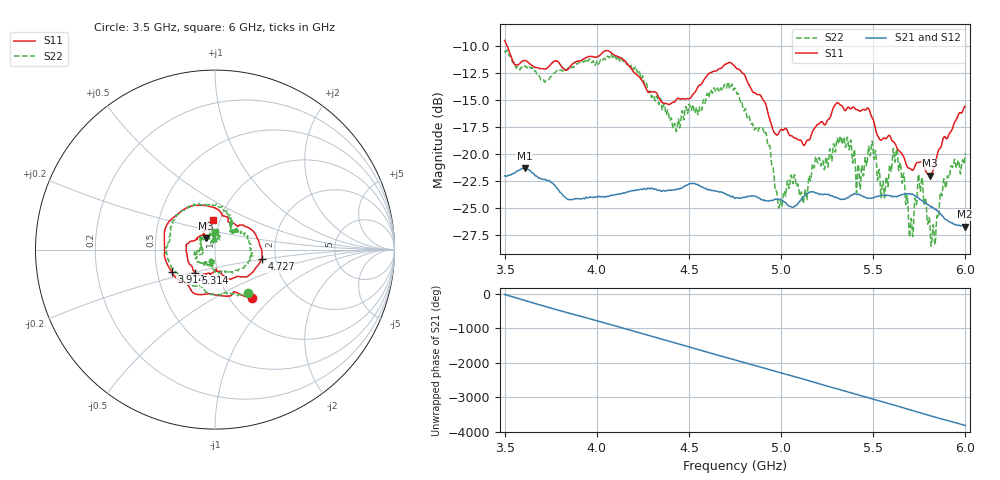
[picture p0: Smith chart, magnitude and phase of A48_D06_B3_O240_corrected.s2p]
! Created with skrf 1.9.0 (http://scikit-rf.org).
# Hz S RI R 50.0
!freq ReS11 ImS11 ReS21 ImS21 ReS12 ImS12 ReS22 ImS22
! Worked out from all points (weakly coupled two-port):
!   1601 points, 3.5 GHz to 6 GHz, reference 50 ohm
!   highest |S21| = -21.33 dB at 3.609 GHz (marker M1); lowest = -26.8 dB at 5.997 GHz (marker M2)
!   lowest |S11| = -22.0 dB at 5.808 GHz (marker M3), VSWR 1.17, Z = 45 + j5.66 ohm
!   |S11| at or under -10 dB: 3.514 GHz to end of sweep
!   |S22| runs from -28.6 to -10.4 dB; largest |S21 - S12| = 0.00097
!   S11 on the Smith chart (normalised r, x): 3.5 GHz: 1.26, -0.76; 3.914 GHz: 0.60, -0.16; 4.727 GHz: 1.69, -0.19; 5.314 GHz: 0.78, -0.21; 6 GHz: 0.93, +0.32
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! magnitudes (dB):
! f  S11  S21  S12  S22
! 3.5 GHz  -9.5  -22.0  -22.0  -10.4
! 3.609 GHz  -11.3  -21.3  -21.3  -11.8
! 3.914 GHz  -11.3  -24.2  -24.2  -11.5
! 3.917 GHz  -11.3  -24.2  -24.2  -11.4
! 4.334 GHz  -14.7  -23.4  -23.3  -15.3
! 4.425 GHz  -15.1  -23.3  -23.3  -17.3
! 4.727 GHz  -11.5  -24.0  -23.9  -13.8
! 4.75 GHz  -11.9  -24.1  -24.1  -13.9
! 4.911 GHz  -15.2  -24.3  -24.3  -18.2
! 4.994 GHz  -17.8  -24.2  -24.2  -24.5
! 5.167 GHz  -18.1  -23.5  -23.5  -21.4
! 5.314 GHz  -15.3  -24.2  -24.1  -19.1
! 5.419 GHz  -15.9  -23.8  -23.8  -21.0
! 5.486 GHz  -16.3  -24.1  -24.1  -20.0
! 5.552 GHz  -18.6  -23.9  -23.8  -22.6
! 5.584 GHz  -18.3  -23.9  -23.8  -22.1
! 5.636 GHz  -19.6  -23.9  -23.8  -21.2
! 5.706 GHz  -21.5  -23.8  -23.7  -26.0
! 5.756 GHz  -20.8  -24.2  -24.2  -23.5
! 5.808 GHz  -22.0  -24.9  -24.8  -26.6
! 5.997 GHz  -15.6  -26.8  -26.6  -20.4
! 6 GHz  -15.6  -26.7  -26.7  -19.9
